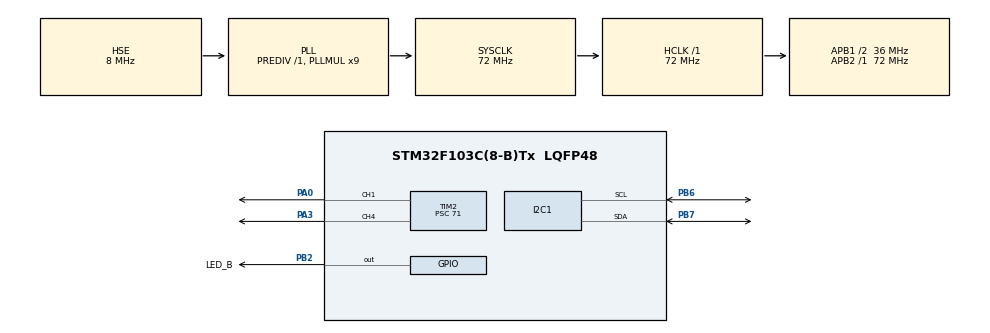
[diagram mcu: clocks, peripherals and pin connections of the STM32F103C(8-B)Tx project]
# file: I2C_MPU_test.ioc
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Mcu.Family=STM32F1
Mcu.Name=STM32F103C(8-B)Tx
Mcu.Package=LQFP48
NVIC.I2C1_ER_IRQn=true\:0\:0\:false\:false\:true\:true\:true\:true
NVIC.I2C1_EV_IRQn=true\:0\:0\:false\:false\:true\:true\:true\:true
NVIC.PriorityGroup=NVIC_PRIORITYGROUP_4
NVIC.TIM1_UP_IRQn=true\:0\:0\:false\:false\:true\:true\:true\:true
PA0-WKUP.Signal=S_TIM2_CH1_ETR
PA13.Mode=Serial_Wire
PA13.Signal=SYS_JTMS-SWDIO
PA14.Mode=Serial_Wire
PA14.Signal=SYS_JTCK-SWCLK
PA3.Signal=S_TIM2_CH4
PB2.GPIO_Label=LED_B
PB2.Signal=GPIO_Output
PB6.Mode=I2C
PB6.Signal=I2C1_SCL
PB7.Mode=I2C
PB7.Signal=I2C1_SDA
PD0-OSC_IN.Mode=HSE-External-Oscillator
PD0-OSC_IN.Signal=RCC_OSC_IN
PD1-OSC_OUT.Mode=HSE-External-Oscillator
PD1-OSC_OUT.Signal=RCC_OSC_OUT
ProjectManager.HeapSize=0x200
ProjectManager.StackSize=0x400
ProjectManager.TargetToolchain=STM32CubeIDE
RCC.AHBFreq_Value=72000000
RCC.APB1CLKDivider=RCC_HCLK_DIV2
RCC.APB1Freq_Value=36000000
RCC.APB1TimFreq_Value=72000000
RCC.APB2Freq_Value=72000000
RCC.APB2TimFreq_Value=72000000
RCC.HCLKFreq_Value=72000000
RCC.PLLMUL=RCC_PLL_MUL9
RCC.PLLSourceVirtual=RCC_PLLSOURCE_HSE
RCC.SYSCLKFreq_VALUE=72000000
RCC.SYSCLKSource=RCC_SYSCLKSOURCE_PLLCLK
RCC.USBFreq_Value=72000000
SH.S_TIM2_CH1_ETR.0=TIM2_CH1,PWM Generation1 CH1
SH.S_TIM2_CH4.0=TIM2_CH4,PWM Generation4 CH4
TIM1.Period=59999
TIM1.Prescaler=11
TIM2.Channel-PWM\ Generation1\ CH1=TIM_CHANNEL_1
TIM2.Channel-PWM\ Generation4\ CH4=TIM_CHANNEL_4
TIM2.Period=20000
TIM2.Prescaler=71
VP_TIM1_VS_ClockSourceINT.Mode=Internal
board=custom

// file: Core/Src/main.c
/* USER CODE BEGIN Header */
/**
  ******************************************************************************
  * @file           : main.c
  * @brief          : Main program body
  ******************************************************************************
  * @attention
  *
  * Copyright (c) 2024 STMicroelectronics.
  * All rights reserved.
  *
  * This software is licensed under terms that can be found in the LICENSE file
  * in the root directory of this software component.
  * If no LICENSE file comes with this software, it is provided AS-IS.
  *
  ******************************************************************************
  */
/* USER CODE END Header */
#include "main.h"

/* USER CODE BEGIN Includes */
#include "stdio.h"
#include "stdbool.h"
#include "math.h"
/* USER CODE END Includes */

/* USER CODE BEGIN PD */
//MPU6050 register addresses
#define MPU_Address (0x68 << 1)
#define PWR_MGMT_1 0x6B
#define GYRO_CONFIG 0x1B
#define ACCEL_CONFIG 0x1C
#define ACCEL_XOUT_H 0x3B
#define GYRO_XOUT_H 0x43

#define I2C_TIMEOUT 10
#define ACCEL_PRESCALER 8192 //register map [page 29]
#define GYRO_PRESCALER 16.4f //register map [page 31]
#define CALIBRATION_SAMPLES 1000
#define PI 3.1416f
#define SERVO_GAIN 11.11f //500 - 0 deg, 2500 - 180 deg
#define K_COMP 0.95f
/* USER CODE END PD */

I2C_HandleTypeDef hi2c1;
TIM_HandleTypeDef htim1;
TIM_HandleTypeDef htim2;
/* USER CODE BEGIN PV */
uint8_t error_I2C = 0;
uint8_t error_TIM1 = 0;

uint8_t tx_buffer = 0;
uint8_t rx_buffer[6] = {0};

int32_t accelRaw [3] = {0}; //x, y, z
int32_t gyroRaw [3] = {0}; //x, y, z
int16_t accelError [3] = {0};
int16_t gyroError [3] = {0};

float g[3] = {0, 0, 0}; //current g load: x, y, z
float angVel[3] = {0, 0, 0}; //angular velocity: x, y, z
float angle[3] = {0, 0, 0}; //current angle: x, y, z

unsigned long prevTick = 0;

bool gyroCalibrated = false;
bool dataReady = false;
/* USER CODE END PV */

void SystemClock_Config(void);
static void MX_GPIO_Init(void);
static void MX_I2C1_Init(void);
static void MX_TIM1_Init(void);
static void MX_TIM2_Init(void);
/* USER CODE BEGIN PFP */

static void MPU6050Init(void){

	tx_buffer = 1;	//disable sleep mode, clk src to gyro x axis
	if(HAL_I2C_Mem_Write(&hi2c1, MPU_Address, PWR_MGMT_1, I2C_MEMADD_SIZE_8BIT, &tx_buffer, 2, I2C_TIMEOUT) != HAL_OK){
		++error_I2C;
	}
	tx_buffer = ((3) << 3); //range +- 2000 deg/sec
	if(HAL_I2C_Mem_Write(&hi2c1, MPU_Address, GYRO_CONFIG, I2C_MEMADD_SIZE_8BIT, &tx_buffer, 2, I2C_TIMEOUT) != HAL_OK){
		++error_I2C;
	}
	tx_buffer = (1 << 3); //range +- 4g
	if(HAL_I2C_Mem_Write(&hi2c1, MPU_Address, ACCEL_CONFIG, I2C_MEMADD_SIZE_8BIT, &tx_buffer, 2, I2C_TIMEOUT) != HAL_OK){
		++error_I2C;
	}

}

//gets raw MPU6050 data
static void GetMeasurements(){

	if(HAL_I2C_Mem_Read(&hi2c1, MPU_Address, ACCEL_XOUT_H, I2C_MEMADD_SIZE_8BIT, rx_buffer, 6, I2C_TIMEOUT) != HAL_OK)
		++error_I2C;
	for(int i = 0; i != 3; ++i){
		accelRaw[i] = ((int16_t)((rx_buffer[i*2] << 8) | rx_buffer[(i*2)+1]));
	}
	if(HAL_I2C_Mem_Read(&hi2c1, MPU_Address, GYRO_XOUT_H, I2C_MEMADD_SIZE_8BIT, rx_buffer, 6, I2C_TIMEOUT) != HAL_OK)
		++error_I2C;
	for(int i = 0; i != 3; ++i){
		gyroRaw[i] = ((int16_t)((rx_buffer[i*2] << 8) | rx_buffer[(i*2)+1]));
	}

}

//gathers avg error for 1000 samples
static void CalibrateGyro(void){

	int32_t gyroErrorAvg[3] = {0};
	for(int m = 0; m != (CALIBRATION_SAMPLES - 1); ++m){
		GetMeasurements();
		for(int k = 0; k != 3; ++k){
			gyroErrorAvg[k] += gyroRaw[k];
		}
	}
	for(int m = 0; m != 3; ++m){
		gyroError[m] = gyroErrorAvg[m]/CALIBRATION_SAMPLES;
	}
	gyroCalibrated = true;

}

//converts raw data to angles (deg) and ang. velocities (deg/sec)
static void ProcessData(void){

	for(int i = 0; i != 3; ++i){
		accelRaw[i] -= accelError[i];
		gyroRaw[i] -= gyroError[i];
		g[i] = ((float)(accelRaw[i]))/ACCEL_PRESCALER;
		angVel[i] = ((float)(gyroRaw[i]))/GYRO_PRESCALER;
		dataReady = true;
	}
}

void HAL_TIM_PeriodElapsedCallback(TIM_HandleTypeDef *htim){

	if(gyroCalibrated){
		if(htim->Instance == TIM1){
			GetMeasurements();
			ProcessData();
		}else{
			++error_TIM1;
		}
	}
}

//calculates current roll and pitch with complementary filter
static void GetAngle(void){

	angle[0] = (angle[0] + angVel[0] * ((float)(HAL_GetTick() - prevTick)) / 1000) * K_COMP + (atan2(g[0], g[2]) * 180 / PI) * (1 - K_COMP);
	angle[1] = (angle[1] + angVel[1] * ((float)(HAL_GetTick() - prevTick)) / 1000) * K_COMP + (atan2(g[1], g[2]) * 180 / PI) * (1 - K_COMP);
	prevTick = HAL_GetTick();

}

//sets servo position in degrees for a given axis
static void ServoX_deg(float deg){
	float pulse;
	deg > 180? deg = 180 : deg;
	pulse = 500 + deg * SERVO_GAIN;
	TIM2->CCR1 = (unsigned int)pulse;
}

static void ServoY_deg(float deg){
	float pulse;
	deg > 180? deg = 180 : deg;
	pulse = 2500 - deg * SERVO_GAIN;
	TIM2->CCR4 = (unsigned int)pulse;
}

/* USER CODE END PFP */

int main(void)
{

  /* MCU Configuration--------------------------------------------------------*/

  /* Reset of all peripherals, Initializes the Flash interface and the Systick. */
  HAL_Init();

  /* Configure the system clock */
  SystemClock_Config();

  /* Initialize all configured peripherals */
  MX_GPIO_Init();
  MX_I2C1_Init();
  MX_TIM1_Init();
  MX_TIM2_Init();
  /* USER CODE BEGIN 2 */
  MPU6050Init();
  CalibrateGyro();
  HAL_TIM_PWM_Start(&htim2, TIM_CHANNEL_1);
  HAL_TIM_PWM_Start(&htim2, TIM_CHANNEL_4);
  HAL_TIM_Base_Start_IT(&htim1);
  prevTick = HAL_GetTick();

  /* USER CODE END 2 */

  /* Infinite loop */
  while (1)
  {

    /* USER CODE BEGIN 3 */
	  if(dataReady){
		  GetAngle();
		  dataReady = false;
		  ServoX_deg(angle[0] + 90);
		  ServoY_deg(angle[1] + 90);
	  }
  }
  /* USER CODE END 3 */
}

void SystemClock_Config(void)
{
  RCC_OscInitTypeDef RCC_OscInitStruct = {0};
  RCC_ClkInitTypeDef RCC_ClkInitStruct = {0};

  /** Initializes the RCC Oscillators according to the specified parameters
  * in the RCC_OscInitTypeDef structure.
  */
  RCC_OscInitStruct.OscillatorType = RCC_OSCILLATORTYPE_HSE;
  RCC_OscInitStruct.HSEState = RCC_HSE_ON;
  RCC_OscInitStruct.HSEPredivValue = RCC_HSE_PREDIV_DIV1;
  RCC_OscInitStruct.HSIState = RCC_HSI_ON;
  RCC_OscInitStruct.PLL.PLLState = RCC_PLL_ON;
  RCC_OscInitStruct.PLL.PLLSource = RCC_PLLSOURCE_HSE;
  RCC_OscInitStruct.PLL.PLLMUL = RCC_PLL_MUL9;
  if (HAL_RCC_OscConfig(&RCC_OscInitStruct) != HAL_OK)
  {
    Error_Handler();
  }

  /** Initializes the CPU, AHB and APB buses clocks
  */
  RCC_ClkInitStruct.ClockType = RCC_CLOCKTYPE_HCLK|RCC_CLOCKTYPE_SYSCLK
                              |RCC_CLOCKTYPE_PCLK1|RCC_CLOCKTYPE_PCLK2;
  RCC_ClkInitStruct.SYSCLKSource = RCC_SYSCLKSOURCE_PLLCLK;
  RCC_ClkInitStruct.AHBCLKDivider = RCC_SYSCLK_DIV1;
  RCC_ClkInitStruct.APB1CLKDivider = RCC_HCLK_DIV2;
  RCC_ClkInitStruct.APB2CLKDivider = RCC_HCLK_DIV1;

  if (HAL_RCC_ClockConfig(&RCC_ClkInitStruct, FLASH_LATENCY_2) != HAL_OK)
  {
    Error_Handler();
  }
}

static void MX_I2C1_Init(void)
{

  hi2c1.Instance = I2C1;
  hi2c1.Init.ClockSpeed = 100000;
  hi2c1.Init.DutyCycle = I2C_DUTYCYCLE_2;
  hi2c1.Init.OwnAddress1 = 0;
  hi2c1.Init.AddressingMode = I2C_ADDRESSINGMODE_7BIT;
  hi2c1.Init.DualAddressMode = I2C_DUALADDRESS_DISABLE;
  hi2c1.Init.OwnAddress2 = 0;
  hi2c1.Init.GeneralCallMode = I2C_GENERALCALL_DISABLE;
  hi2c1.Init.NoStretchMode = I2C_NOSTRETCH_DISABLE;
  if (HAL_I2C_Init(&hi2c1) != HAL_OK)
  {
    Error_Handler();
  }

}

static void MX_TIM1_Init(void)
{

  TIM_ClockConfigTypeDef sClockSourceConfig = {0};
  TIM_MasterConfigTypeDef sMasterConfig = {0};

  htim1.Instance = TIM1;
  htim1.Init.Prescaler = 11;
  htim1.Init.CounterMode = TIM_COUNTERMODE_UP;
  htim1.Init.Period = 59999;
  htim1.Init.ClockDivision = TIM_CLOCKDIVISION_DIV1;
  htim1.Init.RepetitionCounter = 0;
  htim1.Init.AutoReloadPreload = TIM_AUTORELOAD_PRELOAD_DISABLE;
  if (HAL_TIM_Base_Init(&htim1) != HAL_OK)
  {
    Error_Handler();
  }
  sClockSourceConfig.ClockSource = TIM_CLOCKSOURCE_INTERNAL;
  if (HAL_TIM_ConfigClockSource(&htim1, &sClockSourceConfig) != HAL_OK)
  {
    Error_Handler();
  }
  sMasterConfig.MasterOutputTrigger = TIM_TRGO_RESET;
  sMasterConfig.MasterSlaveMode = TIM_MASTERSLAVEMODE_DISABLE;
  if (HAL_TIMEx_MasterConfigSynchronization(&htim1, &sMasterConfig) != HAL_OK)
  {
    Error_Handler();
  }

}

static void MX_TIM2_Init(void)
{

  TIM_MasterConfigTypeDef sMasterConfig = {0};
  TIM_OC_InitTypeDef sConfigOC = {0};

  htim2.Instance = TIM2;
  htim2.Init.Prescaler = 71;
  htim2.Init.CounterMode = TIM_COUNTERMODE_UP;
  htim2.Init.Period = 20000;
  htim2.Init.ClockDivision = TIM_CLOCKDIVISION_DIV1;
  htim2.Init.AutoReloadPreload = TIM_AUTORELOAD_PRELOAD_DISABLE;
  if (HAL_TIM_PWM_Init(&htim2) != HAL_OK)
  {
    Error_Handler();
  }
  sMasterConfig.MasterOutputTrigger = TIM_TRGO_RESET;
  sMasterConfig.MasterSlaveMode = TIM_MASTERSLAVEMODE_DISABLE;
  if (HAL_TIMEx_MasterConfigSynchronization(&htim2, &sMasterConfig) != HAL_OK)
  {
    Error_Handler();
  }
  sConfigOC.OCMode = TIM_OCMODE_PWM1;
  sConfigOC.Pulse = 0;
  sConfigOC.OCPolarity = TIM_OCPOLARITY_HIGH;
  sConfigOC.OCFastMode = TIM_OCFAST_DISABLE;
  if (HAL_TIM_PWM_ConfigChannel(&htim2, &sConfigOC, TIM_CHANNEL_1) != HAL_OK)
  {
    Error_Handler();
  }
  if (HAL_TIM_PWM_ConfigChannel(&htim2, &sConfigOC, TIM_CHANNEL_4) != HAL_OK)
  {
    Error_Handler();
  }
  HAL_TIM_MspPostInit(&htim2);

}

static void MX_GPIO_Init(void)
{
  GPIO_InitTypeDef GPIO_InitStruct = {0};

  /* GPIO Ports Clock Enable */
  __HAL_RCC_GPIOD_CLK_ENABLE();
  __HAL_RCC_GPIOA_CLK_ENABLE();
  __HAL_RCC_GPIOB_CLK_ENABLE();

  /*Configure GPIO pin Output Level */
  HAL_GPIO_WritePin(LED_B_GPIO_Port, LED_B_Pin, GPIO_PIN_RESET);

  /*Configure GPIO pin : LED_B_Pin */
  GPIO_InitStruct.Pin = LED_B_Pin;
  GPIO_InitStruct.Mode = GPIO_MODE_OUTPUT_PP;
  GPIO_InitStruct.Pull = GPIO_NOPULL;
  GPIO_InitStruct.Speed = GPIO_SPEED_FREQ_LOW;
  HAL_GPIO_Init(LED_B_GPIO_Port, &GPIO_InitStruct);

}

void Error_Handler(void)
{
  __disable_irq();
  while (1)
  {
  }
}
